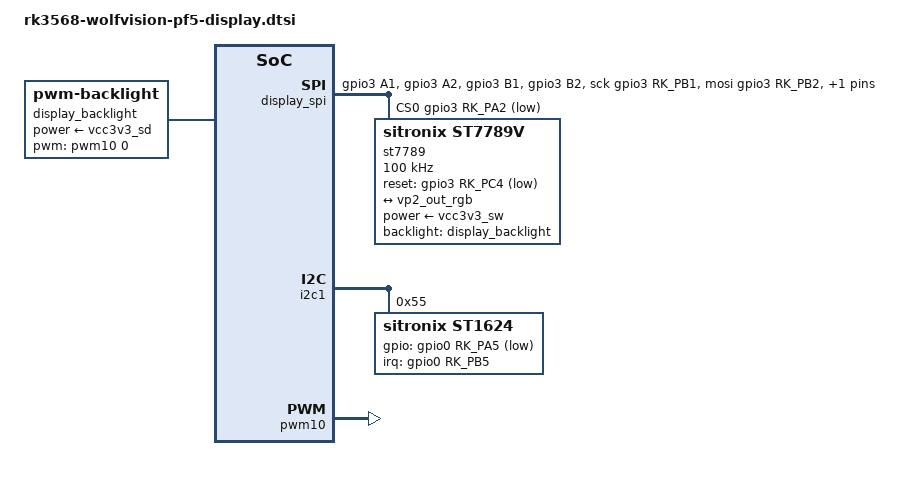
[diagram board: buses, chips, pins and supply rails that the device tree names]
// SPDX-License-Identifier: (GPL-2.0-or-later OR MIT)
/*
 * Device tree overlay base for the WolfVision PF5 displays.
 *
 * Copyright (C) 2024 WolfVision GmbH.
 */

/dts-v1/;
/plugin/;

#include <dt-bindings/clock/rk3568-cru.h>
#include <dt-bindings/gpio/gpio.h>
#include <dt-bindings/interrupt-controller/irq.h>
#include <dt-bindings/pinctrl/rockchip.h>
#include <dt-bindings/soc/rockchip,vop2.h>

&{/} {
	display_backlight: backlight {
		compatible = "pwm-backlight";
		brightness-levels = <0 255>;
		default-brightness-level = <255>;
		num-interpolated-steps = <255>;
		power-supply = <&vcc3v3_sd>;
		pwms = <&pwm10 0 1000000 0>;
	};

	display_spi: spi {
		compatible = "spi-gpio";
		#address-cells = <1>;
		#size-cells = <0>;
		cs-gpios = <&gpio3 RK_PA2 GPIO_ACTIVE_LOW>;
		miso-gpios = <&gpio3 RK_PA1 GPIO_ACTIVE_HIGH>;
		mosi-gpios = <&gpio3 RK_PB2 GPIO_ACTIVE_HIGH>;
		num-chipselects = <1>;
		pinctrl-names = "default";
		pinctrl-0 = <&lcd_spi>;
		sck-gpios = <&gpio3 RK_PB1 GPIO_ACTIVE_HIGH>;

		st7789: panel@0 {
			compatible = "sitronix,st7789v";
			reg = <0>;
			assigned-clocks = <&cru PLL_VPLL>;
			assigned-clock-rates = <700000000>;
			backlight = <&display_backlight>;
			pinctrl-names = "default";
			pinctrl-0 = <&lcdc_clock &lcdc_data18 &lcd_rstn>;
			power-supply = <&vcc3v3_sw>;
			reset-gpios = <&gpio3 RK_PC4 GPIO_ACTIVE_LOW>;
			spi-max-frequency = <100000>;

			port {
				panel_in_vp2: endpoint {
					remote-endpoint = <&vp2_out_rgb>;
				};
			};
		};
	};
};

&i2c1 {
	#address-cells = <1>;
	#size-cells = <0>;
	status = "okay";

	st1624: touchscreen@55 {
		compatible = "sitronix,st1624", "sitronix,st1633";
		reg = <0x55>;
		interrupt-parent = <&gpio0>;
		interrupts = <RK_PB5 IRQ_TYPE_EDGE_FALLING>;
		gpios = <&gpio0 RK_PA5 GPIO_ACTIVE_LOW>;
		pinctrl-names = "default";
		pinctrl-0 = <&touch_int &touch_rstn>;
		wakeup-source;
	};
};

&pinctrl {
	display: display-pinctrl {
		lcd_rstn: lcd-rstn-pinctrl {
			rockchip,pins = <3 RK_PC4 RK_FUNC_GPIO &pcfg_pull_none>;
		};

		lcd_spi: lcd-spi-pinctrl {
			rockchip,pins =
				/* lcd_sdo */
				<3 RK_PA1 RK_FUNC_GPIO &pcfg_pull_none>,
				/* lcd_csn */
				<3 RK_PA2 RK_FUNC_GPIO &pcfg_pull_none>,
				/* lcd_scl */
				<3 RK_PB1 RK_FUNC_GPIO &pcfg_pull_none>,
				/* lcd_sdi */
				<3 RK_PB2 RK_FUNC_GPIO &pcfg_pull_none>;
		};
	};

	touchscreen: touchscreen-pinctrl {
		touch_int: touch-int-pinctrl {
			rockchip,pins = <0 RK_PB5 RK_FUNC_GPIO &pcfg_pull_up>;
		};

		touch_rstn: touch-rstn-pinctrl {
			rockchip,pins = <0 RK_PA5 RK_FUNC_GPIO &pcfg_pull_none>;
		};
	};
};

&pwm10 {
	pinctrl-names = "default";
	pinctrl-0 = <&pwm10m1_pins>;
	status = "okay";
};

&vp2 {
	#address-cells = <1>;
	#size-cells = <0>;

	vp2_out_rgb: endpoint@ROCKCHIP_VOP2_EP_RGB0 {
		reg = <ROCKCHIP_VOP2_EP_RGB0>;
		remote-endpoint = <&panel_in_vp2>;
	};
};
